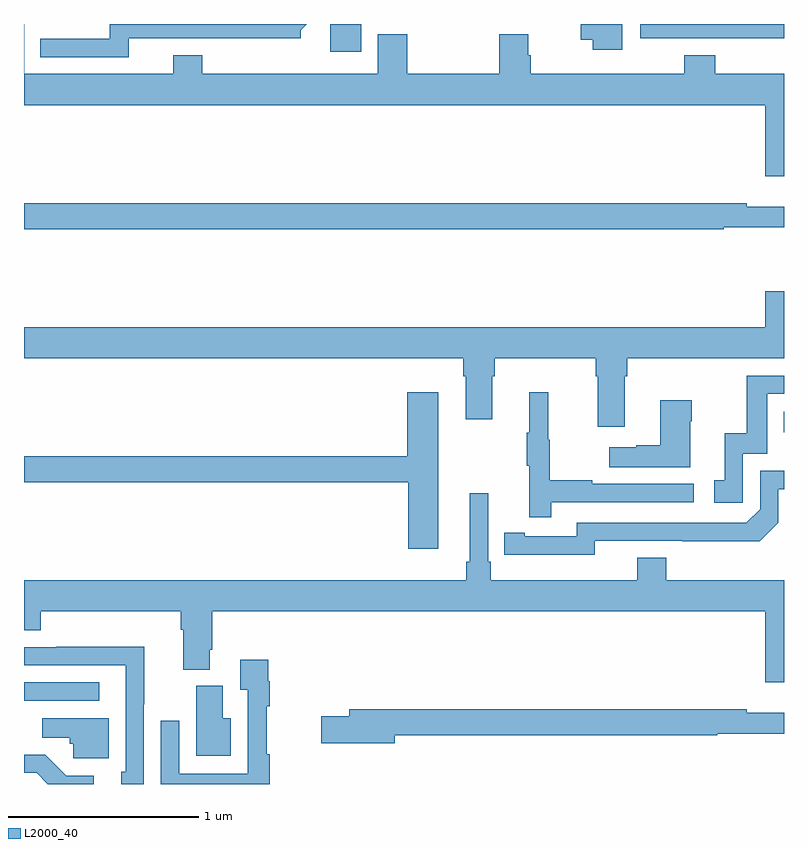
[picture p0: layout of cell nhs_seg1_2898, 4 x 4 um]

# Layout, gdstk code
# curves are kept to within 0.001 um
import gdstk
lib = gdstk.Library(unit=1e-6, precision=1e-09)
def R(c, l, rs):  # rectangles x0, y0, x1, y1
    for r in rs: c.add(gdstk.rectangle(r[:2], r[2:], *l))
def P(c, l, *ps):  # polygons
    for p in ps: c.add(gdstk.Polygon(p, *l))
L2000_40 = (2000, 40)

nhs_seg1_2898 = lib.new_cell('nhs_seg1_2898')
R(nhs_seg1_2898, L2000_40, [(269,508.638,269.395,508.734), (272.998,510.051,273,510.157), (270.613,512.052,270.774,512.199)])
P(nhs_seg1_2898, L2000_40, [(269.55,512.124),(270.022,512.124),(270.022,512.123),(270.456,512.123),(270.456,512.167),(270.488,512.199),(269.45,512.199),(269.45,512.121),(269.086,512.121),(269.086,512.025),(269.55,512.025)],
  [(269.786,512.035),(269.786,511.936),(269.001,511.936),(269.001,512.199),(269,512.199),(269,511.772),(272.9,511.772),(272.9,511.398),(273,511.398),(273,511.936),(272.639,511.936),(272.639,512.035),(272.474,512.035),(272.474,511.936),(271.667,511.936),(271.667,512.034),(271.654,512.034),(271.654,512.144),(271.502,512.144),(271.502,511.936),(271.016,511.936),(271.016,512.144),(270.863,512.144),(270.863,511.936),(269.939,511.936),(269.939,512.035)],
  [(273,512.199),(272.244,512.199),(272.244,512.124),(272.722,512.124),(272.722,512.123),(273,512.123)],
  [(272.149,512.199),(271.93,512.199),(271.93,512.115),(271.993,512.115),(271.993,512.064),(272.149,512.064)],
  [(272.684,511.128),(273,511.128),(273,511.237),(272.804,511.237),(272.804,511.256),(269,511.256),(269,511.12),(272.684,511.12)],
  [(272.161,510.344),(272.174,510.344),(272.174,510.44),(273,510.44),(273,510.793),(272.9,510.793),(272.9,510.604),(269,510.604),(269,510.44),(271.313,510.44),(271.313,510.344),(271.325,510.344),(271.325,510.12),(271.465,510.12),(271.465,510.344),(271.478,510.344),(271.478,510.44),(272.009,510.44),(272.009,510.344),(272.021,510.344),(272.021,510.078),(272.161,510.078)],
  [(272.784,509.937),(272.913,509.937),(272.913,510.252),(273,510.252),(273,510.348),(272.805,510.348),(272.805,510.046),(272.687,510.046),(272.687,509.799),(272.634,509.799),(272.634,509.679),(272.784,509.679)],
  [(271.18,510.262),(271.016,510.262),(271.016,509.924),(269,509.924),(269,509.788),(271.022,509.788),(271.022,509.436),(271.18,509.436)],
  [(271.775,509.682),(272.524,509.682),(272.524,509.778),(271.991,509.778),(271.991,509.798),(271.768,509.798),(271.768,510.012),(271.76,510.012),(271.76,510.262),(271.658,510.262),(271.658,510.049),(271.647,510.049),(271.647,509.875),(271.658,509.875),(271.658,509.604),(271.775,509.604)],
  [(272.506,510.107),(272.514,510.107),(272.514,510.22),(272.348,510.22),(272.348,509.981),(272.222,509.981),(272.222,509.971),(272.079,509.971),(272.079,509.867),(272.506,509.867)],
  [(272.004,509.478),(272.872,509.477),(272.97,509.574),(272.97,509.751),(273,509.751),(273,509.847),(272.874,509.847),(272.874,509.646),(272.802,509.574),(271.908,509.574),(271.908,509.502),(271.636,509.502),(271.636,509.522),(271.528,509.522),(271.528,509.406),(272.004,509.405)],
  [(269,509.009),(269.087,509.009),(269.087,509.108),(269.825,509.108),(269.825,509.012),(269.837,509.012),(269.837,508.801),(269.977,508.801),(269.977,508.906),(269.99,508.906),(269.99,509.108),(272.9,509.108),(272.9,508.734),(273,508.734),(273,509.272),(272.381,509.272),(272.381,509.389),(272.228,509.389),(272.228,509.272),(271.457,509.272),(271.457,509.368),(271.443,509.368),(271.443,509.728),(271.346,509.728),(271.346,509.368),(271.327,509.368),(271.327,509.272),(269,509.272)],
  [(269.631,508.618),(269.633,508.618),(269.633,508.922),(269.17,508.922),(269.17,508.92),(269,508.92),(269,508.824),(269.535,508.824),(269.535,508.263),(269.513,508.263),(269.513,508.199),(269.631,508.199)],
  [(270.293,508.355),(270.278,508.355),(270.278,508.607),(270.293,508.607),(270.293,508.739),(270.286,508.739),(270.286,508.852),(270.137,508.852),(270.137,508.696),(270.177,508.696),(270.177,508.254),(269.817,508.254),(269.817,508.531),(269.721,508.531),(269.721,508.199),(270.293,508.199)],
  [(270.088,508.546),(270.046,508.546),(270.046,508.716),(269.906,508.716),(269.906,508.349),(270.088,508.349)],
  [(270.952,508.456),(272.648,508.456),(272.648,508.464),(273,508.464),(273,508.573),(272.804,508.573),(272.804,508.592),(270.713,508.592),(270.713,508.556),(270.564,508.556),(270.564,508.414),(270.952,508.414)],
  [(269.446,508.546),(269.097,508.546),(269.097,508.442),(269.24,508.442),(269.24,508.41),(269.259,508.41),(269.259,508.335),(269.446,508.335)],
  [(269.368,508.242),(269.223,508.242),(269.112,508.353),(269,508.353),(269,508.257),(269.067,508.257),(269.126,508.199),(269.368,508.199)])

lib.write_gds('nhs_seg1_2898.gds')
